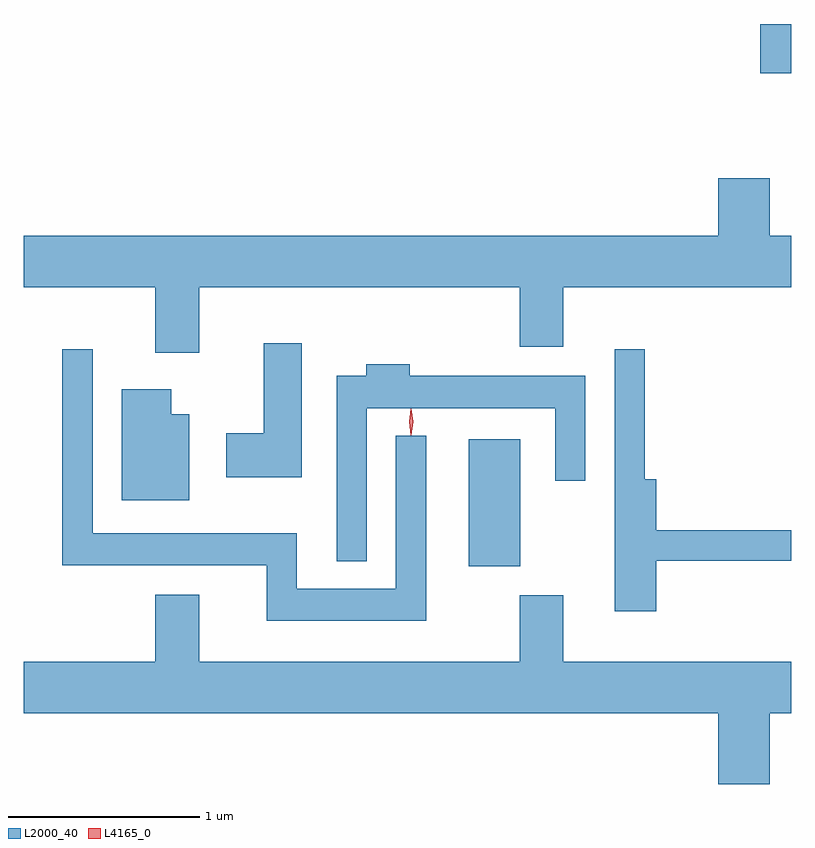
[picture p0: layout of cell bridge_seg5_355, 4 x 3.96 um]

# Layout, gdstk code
import gdstk
lib = gdstk.Library(unit=1e-6, precision=1e-09)
def R(c, l, rs):  # rectangles x0, y0, x1, y1
    for r in rs: c.add(gdstk.rectangle(r[:2], r[2:], *l))
def P(c, l, *ps):  # polygons
    for p in ps: c.add(gdstk.Polygon(p, *l))
L2000_40 = (2000, 40)
L4165_0 = (4165, 0)

bridge_seg5_355 = lib.new_cell('bridge_seg5_355')
R(bridge_seg5_355, L2000_40, [(573.416,1524.161,573.684,1524.824), (574.936,1526.731,575.096,1526.989)])
P(bridge_seg5_355, L2000_40, [(572.009,1525.616),(573.681,1525.616),(573.681,1525.306),(573.909,1525.306),(573.909,1525.616),(575.096,1525.616),(575.096,1525.884),(574.984,1525.884),(574.984,1526.184),(574.716,1526.184),(574.716,1525.884),(571.096,1525.884),(571.096,1525.616),(571.781,1525.616),(571.781,1525.276),(572.009,1525.276)],
  [(572.544,1525.324),(572.346,1525.324),(572.346,1524.854),(572.151,1524.854),(572.151,1524.626),(572.544,1524.626)],
  [(573.194,1524.843),(573.036,1524.843),(573.036,1524.044),(572.519,1524.044),(572.519,1524.334),(571.454,1524.334),(571.454,1525.293),(571.296,1525.293),(571.296,1524.166),(572.361,1524.166),(572.361,1523.876),(573.194,1523.876)],
  [(574.394,1524.191),(575.096,1524.191),(575.096,1524.349),(574.394,1524.349),(574.394,1524.614),(574.334,1524.614),(574.334,1525.293),(574.176,1525.293),(574.176,1523.926),(574.394,1523.926)],
  [(572.884,1524.986),(573.866,1524.986),(573.866,1524.608),(574.024,1524.608),(574.024,1525.154),(573.109,1525.154),(573.109,1525.214),(572.881,1525.214),(572.881,1525.154),(572.726,1525.154),(572.726,1524.188),(572.884,1524.188)],
  [(571.959,1524.954),(571.864,1524.954),(571.864,1525.084),(571.606,1525.084),(571.606,1524.506),(571.959,1524.506)],
  [(574.984,1523.396),(575.096,1523.396),(575.096,1523.664),(573.909,1523.664),(573.909,1524.009),(573.681,1524.009),(573.681,1523.664),(572.009,1523.664),(572.009,1524.014),(571.781,1524.014),(571.781,1523.664),(571.096,1523.664),(571.096,1523.396),(574.716,1523.396),(574.716,1523.026),(574.984,1523.026)])
P(bridge_seg5_355, L4165_0, [(573.114,1524.847),(573.113,1524.848),(573.104,1524.914),(573.113,1524.98),(573.114,1524.981),(573.114,1524.98),(573.124,1524.914),(573.114,1524.848)],
  [(573.114,1524.844),(573.105,1524.914),(573.114,1524.983),(573.115,1524.983),(573.115,1524.983),(573.125,1524.914),(573.115,1524.844),(573.115,1524.844)])

lib.write_gds('bridge_seg5_355.gds')
